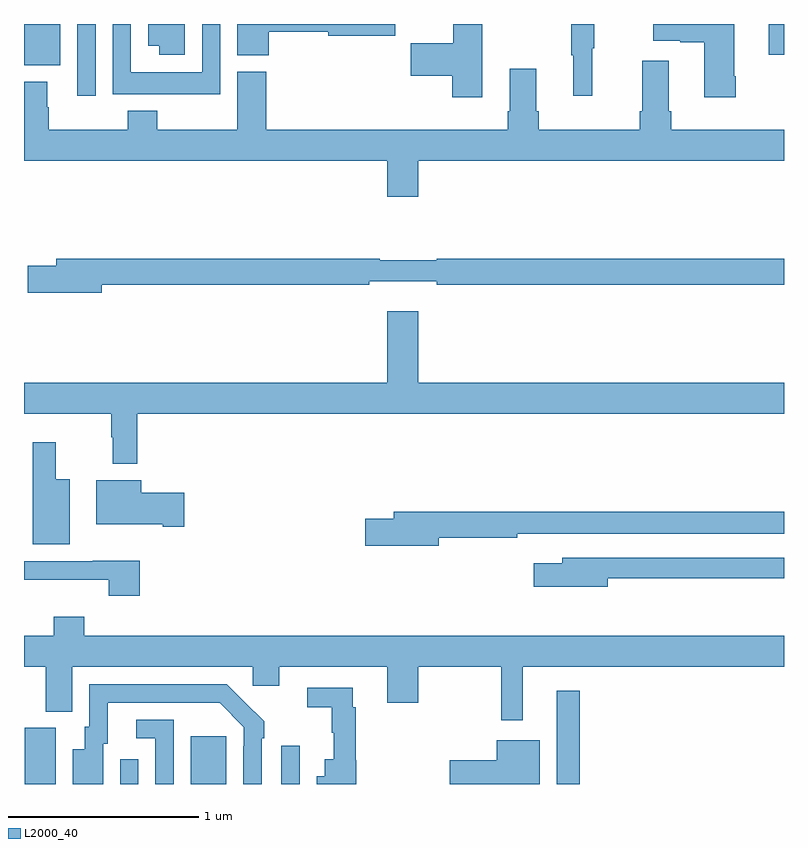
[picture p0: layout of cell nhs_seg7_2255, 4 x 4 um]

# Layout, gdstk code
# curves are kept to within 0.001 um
import gdstk
lib = gdstk.Library(unit=1e-6, precision=1e-09)
def R(c, l, rs):  # rectangles x0, y0, x1, y1
    for r in rs: c.add(gdstk.rectangle(r[:2], r[2:], *l))
def P(c, l, *ps):  # polygons
    for p in ps: c.add(gdstk.Polygon(p, *l))
L2000_40 = (2000, 40)

nhs_seg7_2255 = lib.new_cell('nhs_seg7_2255')
R(nhs_seg7_2255, L2000_40, [(259.004,1000,259.168,1000.296), (259.506,1000,259.602,1000.129), (259.877,1000,260.065,1000.252), (260.355,1000,260.451,1000.201), (261.803,1000,261.925,1000.492), (259.281,1003.623,259.377,1004), (259,1003.784,259.192,1004), (262.919,1003.839,263,1004)])
P(nhs_seg7_2255, L2000_40, [(260.034,1004),(259.938,1004),(259.938,1003.747),(259.563,1003.747),(259.563,1004),(259.467,1004),(259.467,1003.631),(260.034,1003.631)],
  [(261.992,1003.872),(262,1003.872),(262,1004),(261.879,1004),(261.879,1003.835),(261.89,1003.835),(261.89,1003.623),(261.992,1003.623)],
  [(261.412,1004),(261.259,1004),(261.259,1003.898),(261.036,1003.898),(261.036,1003.727),(261.254,1003.727),(261.254,1003.614),(261.412,1003.614)],
  [(260.289,1003.96),(260.6,1003.96),(260.6,1003.937),(260.953,1003.937),(260.953,1004),(260.123,1004),(260.123,1003.835),(260.289,1003.835)],
  [(259.846,1004),(259.655,1004),(259.655,1003.886),(259.712,1003.886),(259.712,1003.838),(259.846,1003.838)],
  [(262.746,1003.726),(262.738,1003.726),(262.738,1004),(262.311,1004),(262.311,1003.913),(262.454,1003.913),(262.454,1003.903),(262.58,1003.903),(262.58,1003.614),(262.746,1003.614)],
  [(261.076,1003.28),(263,1003.28),(263,1003.444),(262.406,1003.444),(262.406,1003.54),(262.393,1003.54),(262.393,1003.807),(262.253,1003.807),(262.253,1003.54),(262.241,1003.54),(262.241,1003.444),(261.71,1003.444),(261.71,1003.54),(261.697,1003.54),(261.697,1003.765),(261.557,1003.765),(261.557,1003.54),(261.545,1003.54),(261.545,1003.444),(260.276,1003.444),(260.276,1003.75),(260.123,1003.75),(260.123,1003.444),(259.701,1003.444),(259.701,1003.543),(259.546,1003.543),(259.546,1003.444),(259.131,1003.444),(259.131,1003.562),(259.123,1003.562),(259.123,1003.696),(259,1003.696),(259,1003.28),(260.912,1003.28),(260.912,1003.092),(261.076,1003.092)],
  [(259.408,1002.628),(260.816,1002.628),(260.816,1002.647),(261.172,1002.647),(261.172,1002.628),(263,1002.628),(263,1002.764),(261.173,1002.764),(261.173,1002.757),(260.873,1002.757),(260.873,1002.764),(259.169,1002.764),(259.169,1002.728),(259.02,1002.728),(259.02,1002.586),(259.408,1002.586)],
  [(259.595,1001.948),(263,1001.948),(263,1002.112),(261.076,1002.112),(261.076,1002.487),(260.912,1002.487),(260.912,1002.112),(259,1002.112),(259,1001.948),(259.459,1001.948),(259.459,1001.825),(259.467,1001.825),(259.467,1001.685),(259.595,1001.685)],
  [(259.24,1001.605),(259.168,1001.605),(259.168,1001.8),(259.046,1001.8),(259.046,1001.261),(259.24,1001.261)],
  [(259.843,1001.532),(259.618,1001.532),(259.618,1001.599),(259.379,1001.599),(259.379,1001.366),(259.73,1001.366),(259.73,1001.354),(259.843,1001.354)],
  [(261.184,1001.296),(261.596,1001.296),(261.596,1001.316),(263,1001.316),(263,1001.432),(260.945,1001.432),(260.945,1001.396),(260.796,1001.396),(260.796,1001.254),(261.184,1001.254)],
  [(262.072,1001.082),(263,1001.082),(263,1001.19),(261.833,1001.19),(261.833,1001.161),(261.684,1001.161),(261.684,1001.039),(262.072,1001.039)],
  [(259.61,1001.174),(259.361,1001.174),(259.361,1001.172),(259,1001.172),(259,1001.075),(259.445,1001.075),(259.445,1000.992),(259.61,1000.992)],
  [(261.625,1000.616),(263,1000.616),(263,1000.78),(259.316,1000.78),(259.316,1000.879),(259.156,1000.879),(259.156,1000.78),(259,1000.78),(259,1000.616),(259.115,1000.616),(259.115,1000.381),(259.255,1000.381),(259.255,1000.616),(260.205,1000.616),(260.205,1000.518),(260.344,1000.518),(260.344,1000.616),(260.912,1000.616),(260.912,1000.428),(261.076,1000.428),(261.076,1000.616),(261.511,1000.616),(261.511,1000.335),(261.625,1000.335)],
  [(259.417,1000.212),(259.441,1000.212),(259.441,1000.428),(260.029,1000.428),(260.157,1000.299),(260.157,1000.199),(260.154,1000.199),(260.154,1000),(260.25,1000),(260.25,1000.241),(260.265,1000.241),(260.265,1000.329),(260.068,1000.524),(259.344,1000.524),(259.344,1000.302),(259.319,1000.302),(259.319,1000.183),(259.256,1000.183),(259.256,1000),(259.417,1000)],
  [(260.748,1000.125),(260.747,1000.125),(260.747,1000.403),(260.729,1000.403),(260.729,1000.506),(260.49,1000.506),(260.49,1000.405),(260.619,1000.405),(260.619,1000.269),(260.63,1000.269),(260.63,1000.129),(260.582,1000.129),(260.582,1000.042),(260.54,1000.042),(260.54,1000),(260.748,1000)],
  [(259.788,1000.338),(259.59,1000.338),(259.59,1000.242),(259.692,1000.242),(259.692,1000),(259.788,1000)],
  [(261.715,1000.231),(261.488,1000.231),(261.488,1000.125),(261.24,1000.125),(261.24,1000),(261.715,1000)])

lib.write_gds('nhs_seg7_2255.gds')
